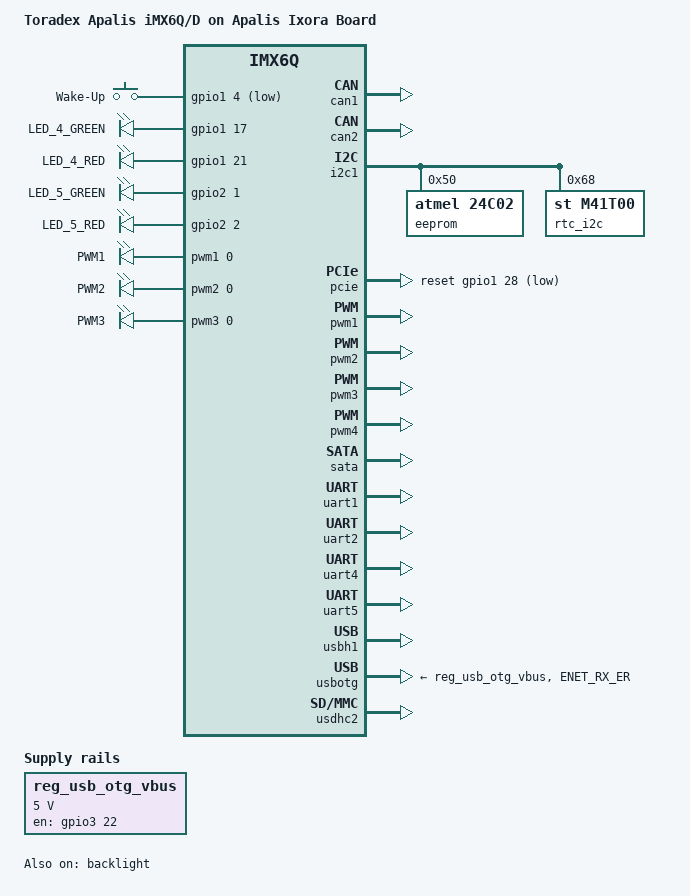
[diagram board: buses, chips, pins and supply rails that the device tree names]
/*
 * Copyright 2014-2016 Toradex AG
 * Copyright 2012 Freescale Semiconductor, Inc.
 * Copyright 2011 Linaro Ltd.
 *
 * This file is dual-licensed: you can use it either under the terms
 * of the GPL or the X11 license, at your option. Note that this dual
 * licensing only applies to this file, and not this project as a
 * whole.
 *
 *  a) This file is free software; you can redistribute it and/or
 *     modify it under the terms of the GNU General Public License
 *     version 2 as published by the Free Software Foundation.
 *
 *     This file is distributed in the hope that it will be useful
 *     but WITHOUT ANY WARRANTY; without even the implied warranty of
 *     MERCHANTABILITY or FITNESS FOR A PARTICULAR PURPOSE.  See the
 *     GNU General Public License for more details.
 *
 * Or, alternatively
 *
 *  b) Permission is hereby granted, free of charge, to any person
 *     obtaining a copy of this software and associated documentation
 *     files (the "Software"), to deal in the Software without
 *     restriction, including without limitation the rights to use
 *     copy, modify, merge, publish, distribute, sublicense, and/or
 *     sell copies of the Software, and to permit persons to whom the
 *     Software is furnished to do so, subject to the following
 *     conditions:
 *
 *     The above copyright notice and this permission notice shall be
 *     included in all copies or substantial portions of the Software.
 *
 *     THE SOFTWARE IS PROVIDED , WITHOUT WARRANTY OF ANY KIND
 *     EXPRESS OR IMPLIED, INCLUDING BUT NOT LIMITED TO THE WARRANTIES
 *     OF MERCHANTABILITY, FITNESS FOR A PARTICULAR PURPOSE AND
 *     NONINFRINGEMENT. IN NO EVENT SHALL THE AUTHORS OR COPYRIGHT
 *     HOLDERS BE LIABLE FOR ANY CLAIM, DAMAGES OR OTHER LIABILITY
 *     WHETHER IN AN ACTION OF CONTRACT, TORT OR OTHERWISE, ARISING
 *     FROM, OUT OF OR IN CONNECTION WITH THE SOFTWARE OR THE USE OR
 *     OTHER DEALINGS IN THE SOFTWARE.
 */

/dts-v1/;

#include <dt-bindings/input/input.h>
#include <dt-bindings/interrupt-controller/irq.h>
#include "imx6q.dtsi"
#include "imx6qdl-apalis.dtsi"

/ {
	model = "Toradex Apalis iMX6Q/D on Apalis Ixora Board";
	compatible = "toradex,apalis_imx6q-ixora", "toradex,apalis_imx6q", "fsl,imx6q";

	aliases {
		i2c0 = &i2cddc;
		i2c1 = &i2c1;
		i2c2 = &i2c2;
		i2c3 = &i2c3;
	};

	aliases {
		rtc0 = &rtc_i2c;
		rtc1 = &snvs_rtc;
	};

	gpio-keys {
		compatible = "gpio-keys";
		pinctrl-names = "default";
		pinctrl-0 = <&pinctrl_gpio_keys>;

		wakeup {
			label = "Wake-Up";
			gpios = <&gpio1 4 GPIO_ACTIVE_LOW>;
			linux,code = <KEY_WAKEUP>;
			debounce-interval = <10>;
			gpio-key,wakeup;
		};
	};

	leds {
		compatible = "gpio-leds";

		pinctrl-names = "default";
		pinctrl-0 = <&pinctrl_leds_ixora>;

		led4-green {
			label = "LED_4_GREEN";
			gpios = <&gpio1 17 GPIO_ACTIVE_HIGH>;
		};

		led4-red {
			label = "LED_4_RED";
			gpios = <&gpio1 21 GPIO_ACTIVE_HIGH>;
		};

		led5-green {
			label = "LED_5_GREEN";
			gpios = <&gpio2 1 GPIO_ACTIVE_HIGH>;
		};

		led5-red {
			label = "LED_5_RED";
			gpios = <&gpio2 2 GPIO_ACTIVE_HIGH>;
		};
	};

	pwmleds {
		compatible = "pwm-leds";
		ledpwm1 {
			label = "PWM1";
			pwms = <&pwm1 0 50000>;
			max-brightness = <255>;
		};

		ledpwm2 {
			label = "PWM2";
			pwms = <&pwm2 0 50000>;
			max-brightness = <255>;
		};

		ledpwm3 {
			label = "PWM3";
			pwms = <&pwm3 0 50000>;
			max-brightness = <255>;
		};
	};

	reg_usb_otg_vbus: usb_otg_vbus {
		compatible = "regulator-fixed";
		pinctrl-names = "default";
		pinctrl-0 = <&pinctrl_regulator_usbotg_pwr>;
		regulator-name = "usb_otg_vbus";
		regulator-min-microvolt = <5000000>;
		regulator-max-microvolt = <5000000>;
		gpio = <&gpio3 22 GPIO_ACTIVE_HIGH>;
		enable-active-high;
		status = "okay";
	};

	reg_usb_host_vbus: usb_host_vbus {
		status = "okay";
	};
};

&backlight {
	brightness-levels = <0 127 191 223 239 247 251 255>;
	default-brightness-level = <1>;
	status = "okay";
};

&can1 {
	status = "okay";
};

&can2 {
	status = "okay";
};

&i2c1 {
	status = "okay";

	eeprom@50 {
		compatible = "atmel,24c02";
		reg = <0x50>;
	};

	/* M41T0M6 real time clock on carrier board */
	rtc_i2c: rtc@68 {
		compatible = "st,m41t00";
		reg = <0x68>;
	};
};

&iomuxc {
	/*
	 * Mux the Apalis GPIOs, GPIO7 used for PCIe reset,
	 * GPIO5, 6 used by optional fusion_F0710A kernel module
	 */
	pinctrl-names = "default";
	pinctrl-0 = <&pinctrl_apalis_gpio1 &pinctrl_apalis_gpio2
		     &pinctrl_apalis_gpio3 &pinctrl_apalis_gpio4
		     &pinctrl_apalis_gpio5 &pinctrl_apalis_gpio6
		     &pinctrl_apalis_gpio7 &pinctrl_apalis_gpio8>;

	leds_ixora {
		pinctrl_leds_ixora: leds-ixora {
			fsl,pins = <
				MX6QDL_PAD_SD1_DAT1__GPIO1_IO17 0x1b0b0
				MX6QDL_PAD_SD1_DAT3__GPIO1_IO21 0x1b0b0
				MX6QDL_PAD_NANDF_D1__GPIO2_IO01 0x1b0b0
				MX6QDL_PAD_NANDF_D2__GPIO2_IO02 0x1b0b0
			>;
		};
	};

	usbotg {
		pinctrl_usbotg: usbotggrp {
			fsl,pins = <
				MX6QDL_PAD_ENET_RX_ER__USB_OTG_ID 0x17059
			>;
		};
		pinctrl_regulator_usbotg_pwr: gpio_regulator_usbotg_pwr {
			fsl,pins = <
				/* USBO power en */
				MX6QDL_PAD_EIM_D22__GPIO3_IO22 0x0f058
				>;
		};
	};
};

&pcie {
	reset-gpio = <&gpio1 28 GPIO_ACTIVE_LOW>;
	status = "okay";
};

&pwm1 {
	status = "okay";
};

&pwm2 {
	status = "okay";
};

&pwm3 {
	status = "okay";
};

&pwm4 {
	status = "okay";
};

&sata {
	status = "okay";
};

&uart1 {
	status = "okay";
};

&uart2 {
	status = "okay";
};

&uart4 {
	status = "okay";
};

&uart5 {
	status = "okay";
};

&usbh1 {
	status = "okay";
};

&usbotg {
	status = "okay";
	vbus-supply = <&reg_usb_otg_vbus>;
	pinctrl-names = "default";
	pinctrl-0 = <&pinctrl_usbotg>;
	disable-over-current;
};

/* SD1 */
&usdhc2 {
	status = "okay";
};
